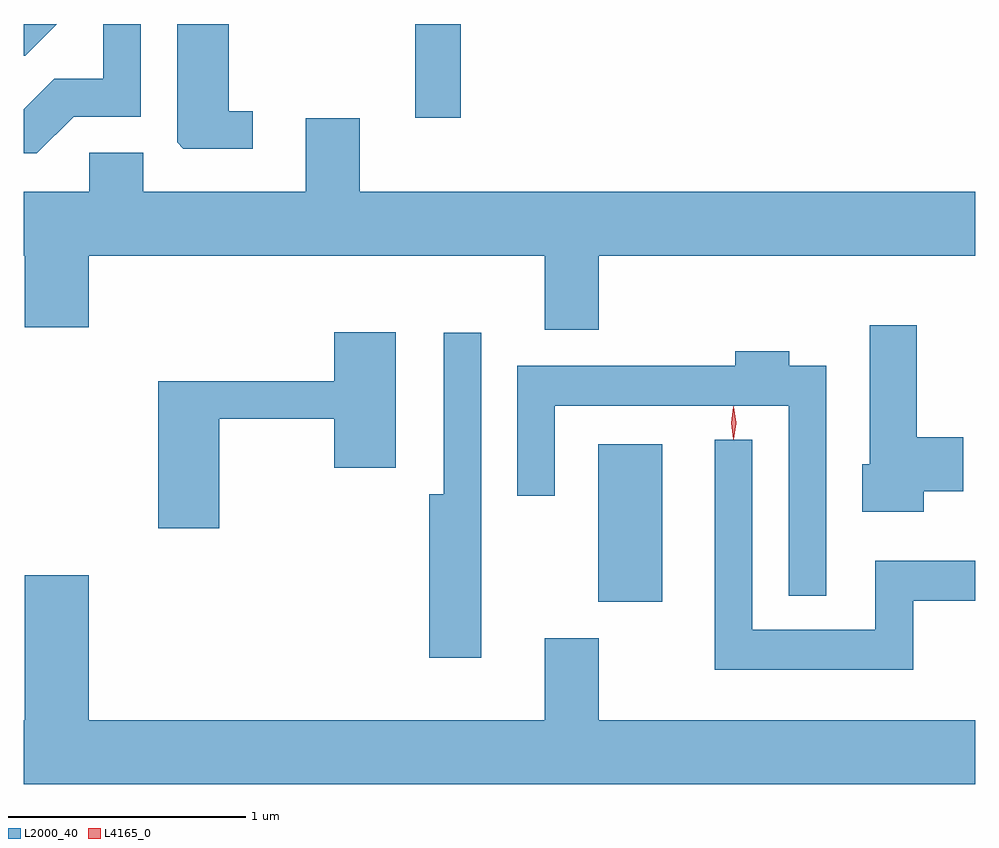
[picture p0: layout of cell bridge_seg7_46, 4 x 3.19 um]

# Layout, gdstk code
import gdstk
lib = gdstk.Library(unit=1e-6, precision=1e-09)
def R(c, l, rs):  # rectangles x0, y0, x1, y1
    for r in rs: c.add(gdstk.rectangle(r[:2], r[2:], *l))
def P(c, l, *ps):  # polygons
    for p in ps: c.add(gdstk.Polygon(p, *l))
L2000_40 = (2000, 40)
L4165_0 = (4165, 0)

bridge_seg7_46 = lib.new_cell('bridge_seg7_46')
R(bridge_seg7_46, L2000_40, [(1556.146,1803.881,1556.414,1804.544), (1555.376,1805.916,1555.569,1806.31)])
P(bridge_seg7_46, L2000_40, [(1554.693,1805.944),(1554.594,1805.944),(1554.594,1806.31),(1554.376,1806.31),(1554.376,1805.812),(1554.402,1805.786),(1554.693,1805.786)],
  [(1553.87,1806.31),(1553.731,1806.31),(1553.731,1806.176),(1553.737,1806.176)],
  [(1553.942,1805.921),(1554.224,1805.921),(1554.224,1806.31),(1554.066,1806.31),(1554.066,1806.079),(1553.859,1806.079),(1553.731,1805.951),(1553.731,1805.766),(1553.787,1805.766)],
  [(1556.149,1805.336),(1557.731,1805.336),(1557.731,1805.604),(1555.144,1805.604),(1555.144,1805.914),(1554.916,1805.914),(1554.916,1805.604),(1554.234,1805.604),(1554.234,1805.769),(1554.006,1805.769),(1554.006,1805.604),(1553.731,1805.604),(1553.731,1805.336),(1553.736,1805.336),(1553.736,1805.036),(1554.004,1805.036),(1554.004,1805.336),(1555.921,1805.336),(1555.921,1805.026),(1556.149,1805.026)],
  [(1557.514,1804.346),(1557.679,1804.346),(1557.679,1804.574),(1557.484,1804.574),(1557.484,1805.044),(1557.286,1805.044),(1557.286,1804.459),(1557.256,1804.459),(1557.256,1804.261),(1557.514,1804.261)],
  [(1554.554,1804.651),(1555.036,1804.651),(1555.036,1804.446),(1555.294,1804.446),(1555.294,1805.014),(1555.036,1805.014),(1555.036,1804.809),(1554.296,1804.809),(1554.296,1804.191),(1554.554,1804.191)],
  [(1555.654,1805.013),(1555.496,1805.013),(1555.496,1804.334),(1555.436,1804.334),(1555.436,1803.646),(1555.654,1803.646)],
  [(1557.104,1804.874),(1556.949,1804.874),(1556.949,1804.934),(1556.721,1804.934),(1556.721,1804.874),(1555.806,1804.874),(1555.806,1804.328),(1555.964,1804.328),(1555.964,1804.706),(1556.946,1804.706),(1556.946,1803.908),(1557.104,1803.908)],
  [(1557.469,1803.886),(1557.731,1803.886),(1557.731,1804.054),(1557.311,1804.054),(1557.311,1803.764),(1556.794,1803.764),(1556.794,1804.563),(1556.636,1804.563),(1556.636,1803.596),(1557.469,1803.596)],
  [(1557.731,1803.384),(1556.149,1803.384),(1556.149,1803.729),(1555.921,1803.729),(1555.921,1803.384),(1554.004,1803.384),(1554.004,1803.994),(1553.736,1803.994),(1553.736,1803.384),(1553.731,1803.384),(1553.731,1803.116),(1557.731,1803.116)])
P(bridge_seg7_46, L4165_0, [(1556.715,1804.563),(1556.714,1804.564),(1556.705,1804.633),(1556.714,1804.702),(1556.715,1804.703),(1556.715,1804.702),(1556.725,1804.633),(1556.715,1804.564)],
  [(1556.715,1804.567),(1556.714,1804.568),(1556.705,1804.634),(1556.714,1804.7),(1556.715,1804.701),(1556.715,1804.7),(1556.725,1804.634),(1556.715,1804.568)])

lib.write_gds('bridge_seg7_46.gds')
